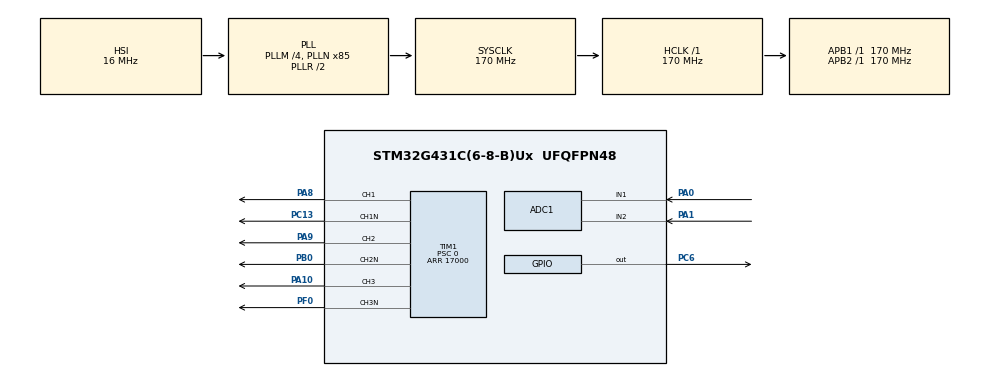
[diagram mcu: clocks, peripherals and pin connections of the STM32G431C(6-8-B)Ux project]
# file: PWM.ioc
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ADC1.Channel-1\#ChannelRegularConversion=ADC_CHANNEL_1
ADC1.ContinuousConvMode=ENABLE
ADC1.DMAContinuousRequests=ENABLE
ADC1.ExternalTrigConv=ADC_EXTERNALTRIG_T1_TRGO
ADC1.ExternalTrigConvEdge=ADC_EXTERNALTRIGCONVEDGE_RISING
ADC1.NbrOfConversion=1
ADC1.NbrOfConversionFlag=1
ADC1.OffsetNumber-1\#ChannelRegularConversion=ADC_OFFSET_NONE
ADC1.Rank-1\#ChannelRegularConversion=1
ADC1.SamplingTime-1\#ChannelRegularConversion=ADC_SAMPLETIME_47CYCLES_5
ADC1.SingleDiff-1\#ChannelRegularConversion=ADC_DIFFERENTIAL_ENDED
ADC1.master=1
Dma.ADC1.0.Direction=DMA_PERIPH_TO_MEMORY
Dma.ADC1.0.EventEnable=DISABLE
Dma.ADC1.0.Instance=DMA1_Channel1
Dma.ADC1.0.MemDataAlignment=DMA_MDATAALIGN_HALFWORD
Dma.ADC1.0.MemInc=DMA_MINC_ENABLE
Dma.ADC1.0.Mode=DMA_NORMAL
Dma.ADC1.0.PeriphDataAlignment=DMA_PDATAALIGN_HALFWORD
Dma.ADC1.0.PeriphInc=DMA_PINC_DISABLE
Dma.ADC1.0.Polarity=HAL_DMAMUX_REQ_GEN_RISING
Dma.ADC1.0.Priority=DMA_PRIORITY_LOW
Dma.ADC1.0.RequestNumber=1
Dma.ADC1.0.SignalID=NONE
Dma.ADC1.0.SyncEnable=DISABLE
Dma.ADC1.0.SyncPolarity=HAL_DMAMUX_SYNC_NO_EVENT
Dma.ADC1.0.SyncRequestNumber=1
Dma.ADC1.0.SyncSignalID=NONE
Dma.Request0=ADC1
Mcu.Family=STM32G4
Mcu.Name=STM32G431C(6-8-B)Ux
Mcu.Package=UFQFPN48
NVIC.DMA1_Channel1_IRQn=true\:0\:0\:false\:false\:false\:true\:true\:true
NVIC.PriorityGroup=NVIC_PRIORITYGROUP_4
NVIC.TIM2_IRQn=true\:0\:0\:false\:false\:true\:true\:false\:true
NVIC.TIM6_DAC_IRQn=true\:0\:0\:false\:false\:false\:true\:true\:true
PA0.Mode=IN1-Differential
PA0.Signal=ADC1_IN1
PA1.Mode=IN1-Differential
PA1.Signal=ADC1_IN2
PA10.Signal=S_TIM1_CH3
PA13.Mode=Serial_Wire
PA13.Signal=SYS_JTMS-SWDIO
PA14.Mode=Serial_Wire
PA14.Signal=SYS_JTCK-SWCLK
PA8.Signal=S_TIM1_CH1
PA9.Signal=S_TIM1_CH2
PB0.Mode=PWM Generation2 CH2 CH2N
PB0.Signal=TIM1_CH2N
PC13.Mode=PWM Generation1 CH1 CH1N
PC13.Signal=TIM1_CH1N
PC6.Signal=GPIO_Output
PF0-OSC_IN.Mode=PWM Generation3 CH3 CH3N
PF0-OSC_IN.Signal=TIM1_CH3N
ProjectManager.HeapSize=0x200
ProjectManager.StackSize=0x400
ProjectManager.TargetToolchain=MDK-ARM V5.32
RCC.ADC12Freq_Value=170000000
RCC.AHBFreq_Value=170000000
RCC.APB1Freq_Value=170000000
RCC.APB1TimFreq_Value=170000000
RCC.APB2Freq_Value=170000000
RCC.APB2TimFreq_Value=170000000
RCC.CortexFreq_Value=170000000
RCC.EXTERNAL_CLOCK_VALUE=12288000
RCC.HCLKFreq_Value=170000000
RCC.HSE_VALUE=8000000
RCC.HSI48_VALUE=48000000
RCC.HSI_VALUE=16000000
RCC.LSE_VALUE=32768
RCC.PLLM=RCC_PLLM_DIV4
RCC.PLLN=85
RCC.SYSCLKFreq_VALUE=170000000
RCC.SYSCLKSource=RCC_SYSCLKSOURCE_PLLCLK
RCC.USBFreq_Value=170000000
RCC.VCOOutputFreq_Value=340000000
SH.S_TIM1_CH1.0=TIM1_CH1,PWM Generation1 CH1 CH1N
SH.S_TIM1_CH2.0=TIM1_CH2,PWM Generation2 CH2 CH2N
SH.S_TIM1_CH3.0=TIM1_CH3,PWM Generation3 CH3 CH3N
TIM1.AutoReloadPreload=TIM_AUTORELOAD_PRELOAD_ENABLE
TIM1.Channel-PWM\ Generation1\ CH1\ CH1N=TIM_CHANNEL_1
TIM1.Channel-PWM\ Generation2\ CH2\ CH2N=TIM_CHANNEL_2
TIM1.Channel-PWM\ Generation3\ CH3\ CH3N=TIM_CHANNEL_3
TIM1.DeadTime=170
TIM1.DeadTimePreload=ENABLE
TIM1.PeriodNoDither=17000
TIM1.Prescaler=0
TIM1.PulseNoDither_1=8500
TIM1.PulseNoDither_2=8500
TIM1.TIM_MasterOutputTrigger=TIM_TRGO_OC1REF
TIM1.TIM_MasterSlaveMode=TIM_MASTERSLAVEMODE_DISABLE
TIM2.AutoReloadPreload=TIM_AUTORELOAD_PRELOAD_ENABLE
TIM2.PeriodNoDither=40
TIM2.Prescaler=170
TIM6.PeriodNoDither=34000
VP_SYS_VS_DBSignals.Mode=DisableDeadBatterySignals
VP_TIM1_VS_ClockSourceINT.Mode=Internal
VP_TIM2_VS_ClockSourceINT.Mode=Internal
VP_TIM6_VS_ClockSourceINT.Mode=Enable_Timer
board=custom

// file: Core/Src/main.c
/* USER CODE BEGIN Header */
/**
  ******************************************************************************
  * @file           : main.c
  * @brief          : Main program body
  ******************************************************************************
  * @attention
  *
  * Copyright (c) 2026 STMicroelectronics.
  * All rights reserved.
  *
  * This software is licensed under terms that can be found in the LICENSE file
  * in the root directory of this software component.
  * If no LICENSE file comes with this software, it is provided AS-IS.
  *
  ******************************************************************************
  */
/* USER CODE END Header */
#include "main.h"
#include "adc.h"
#include "dma.h"
#include "tim.h"
#include "gpio.h"

/* USER CODE BEGIN Includes */
#include "math.h"
/* USER CODE END Includes */

/* USER CODE BEGIN PV */
uint16_t adc_results[200];
float adcVoltage[200];
/* USER CODE END PV */

void SystemClock_Config(void);
/* USER CODE BEGIN PFP */
extern uint16_t calcNumMeasure(void);
/* USER CODE END PFP */

/* USER CODE BEGIN 0 */

void TIM6_start(){

	TIM6->CR1 |= TIM_CR1_CEN;
	TIM6->DIER |= TIM_DIER_UIE;
}

void TIM2_config(){
	//TIM2->DIER |= TIM_DIER_CC1IE;
}

void TIM2_start(){
	TIM2->DIER |= TIM_DIER_UIE;
	TIM2->CR1 |= TIM_CR1_CEN;
}

void TIM1_config(){

	TIM1->BDTR |= TIM_BDTR_MOE;

	TIM1 -> CR1 &= ~TIM_CR1_CMS_0;
	TIM1 -> CR1 |= TIM_CR1_CMS_1; // режим где флаг прерывания устанавливается только на подьёме и OC1REF тоже только на подьёме - для триггера АЦП

	TIM1->CCER |= TIM_CCER_CC1E;
	TIM1->CCER |= TIM_CCER_CC1NE;

	TIM1->CCER |= TIM_CCER_CC2E;
	TIM1->CCER |= TIM_CCER_CC2NE;

	TIM1->CCER |= TIM_CCER_CC3E;
	TIM1->CCER |= TIM_CCER_CC3NE;

}

void TIM1_start(){
	TIM1 -> CR1 |= TIM_CR1_CEN;
}

void DMA_ADC_config(uint16_t *data, uint16_t size)
{

    DMA1_Channel1->CCR &= ~DMA_CCR_EN;
    while (DMA1_Channel1->CCR & DMA_CCR_EN) {}

		DMA1_Channel1 -> CCR |= DMA_CCR_TCIE; // включить прерывание по концу передачи
    DMA1_Channel1->CNDTR = size;
    DMA1_Channel1->CPAR  = (uint32_t)&ADC1->DR;
    DMA1_Channel1->CMAR  = (uint32_t)data;

    if (ADC1->CR & ADC_CR_ADEN)
    {
        ADC1->CR |= ADC_CR_ADDIS;
        while (ADC1->CR & ADC_CR_ADEN) {}
    }

    ADC1->CR |= ADC_CR_ADVREGEN; // отрегулировать ADC

    for (volatile uint32_t i = 0; i < 2000; i++) { __NOP(); }

    /* 7. Calibrate ADC in differential mode */
    ADC1->CR |= ADC_CR_ADCALDIF;
    ADC1->CR |= ADC_CR_ADCAL;
    while (ADC1->CR & ADC_CR_ADCAL) {}

    ADC1->CFGR |= ADC_CFGR_CONT; // continous режим

    ADC1->CFGR |= ADC_CFGR_DMAEN;
    ADC1->CFGR |= ADC_CFGR_DMACFG;   // circular DMA

    ADC1->CR |= ADC_CR_ADEN;
    while (!(ADC1->ISR & ADC_ISR_ADRDY)) {}

    DMA1_Channel1->CCR |= DMA_CCR_EN;

    ADC1->CR |= ADC_CR_ADSTART; // врубить ADC
}

void ADC_restart(uint16_t *data, uint16_t size)
{
    /* 1. Остановить regular conversions */
    if (ADC1->CR & ADC_CR_ADSTART)
    {
        ADC1->CR |= ADC_CR_ADSTP;
        while (ADC1->CR & ADC_CR_ADSTP) {}
    }

    /* 2. Выключить DMA channel */
    DMA1_Channel1->CCR &= ~DMA_CCR_EN;
    while (DMA1_Channel1->CCR & DMA_CCR_EN) {}

    /* 3. Очистить DMA flags */
    DMA1->IFCR = DMA_IFCR_CGIF1 |
                 DMA_IFCR_CTCIF1 |
                 DMA_IFCR_CHTIF1 |
                 DMA_IFCR_CTEIF1;

    /* 4. Очистить флаги ADC */
    ADC1->ISR = ADC_ISR_EOC |
                ADC_ISR_EOS |
                ADC_ISR_OVR;

    /* 5. Перезагрузить DMA */
    DMA1_Channel1->CNDTR = size;
    DMA1_Channel1->CPAR  = (uint32_t)&ADC1->DR;
    DMA1_Channel1->CMAR  = (uint32_t)data;

    /* 6. Снова включить DMA */
    DMA1_Channel1->CCR |= DMA_CCR_EN;

    /* 7. Снова взвести ADC. */
    ADC1->CR |= ADC_CR_ADSTART;
}

/* USER CODE END 0 */

int main(void)
{

  /* MCU Configuration--------------------------------------------------------*/

  /* Reset of all peripherals, Initializes the Flash interface and the Systick. */
  HAL_Init();

  /* Configure the system clock */
  SystemClock_Config();

  /* Initialize all configured peripherals */
  MX_GPIO_Init();
  MX_DMA_Init();
  MX_TIM1_Init();
  MX_TIM6_Init();
  MX_ADC1_Init();
  MX_TIM2_Init();
  /* USER CODE BEGIN 2 */

	//HAL_TIM_PWM_Start(&htim8, TIM_CHANNEL_1);
	//HAL_TIMEx_PWMN_Start(&htim8, TIM_CHANNEL_1);

	//HAL_ADC_Start_DMA(&hadc1, (uint32_t*)adc_results, 20);

	DMA_ADC_config(adc_results, calcNumMeasure());

	TIM2_config();
	TIM1_config();
	TIM1_start();

	TIM6_start();

  /* USER CODE END 2 */

  /* Infinite loop */
  while (1)
  {

  }
}

void SystemClock_Config(void)
{
  RCC_OscInitTypeDef RCC_OscInitStruct = {0};
  RCC_ClkInitTypeDef RCC_ClkInitStruct = {0};

  /** Configure the main internal regulator output voltage
  */
  HAL_PWREx_ControlVoltageScaling(PWR_REGULATOR_VOLTAGE_SCALE1_BOOST);

  /** Initializes the RCC Oscillators according to the specified parameters
  * in the RCC_OscInitTypeDef structure.
  */
  RCC_OscInitStruct.OscillatorType = RCC_OSCILLATORTYPE_HSI;
  RCC_OscInitStruct.HSIState = RCC_HSI_ON;
  RCC_OscInitStruct.HSICalibrationValue = RCC_HSICALIBRATION_DEFAULT;
  RCC_OscInitStruct.PLL.PLLState = RCC_PLL_ON;
  RCC_OscInitStruct.PLL.PLLSource = RCC_PLLSOURCE_HSI;
  RCC_OscInitStruct.PLL.PLLM = RCC_PLLM_DIV4;
  RCC_OscInitStruct.PLL.PLLN = 85;
  RCC_OscInitStruct.PLL.PLLP = RCC_PLLP_DIV2;
  RCC_OscInitStruct.PLL.PLLQ = RCC_PLLQ_DIV2;
  RCC_OscInitStruct.PLL.PLLR = RCC_PLLR_DIV2;
  if (HAL_RCC_OscConfig(&RCC_OscInitStruct) != HAL_OK)
  {
    Error_Handler();
  }

  /** Initializes the CPU, AHB and APB buses clocks
  */
  RCC_ClkInitStruct.ClockType = RCC_CLOCKTYPE_HCLK|RCC_CLOCKTYPE_SYSCLK
                              |RCC_CLOCKTYPE_PCLK1|RCC_CLOCKTYPE_PCLK2;
  RCC_ClkInitStruct.SYSCLKSource = RCC_SYSCLKSOURCE_PLLCLK;
  RCC_ClkInitStruct.AHBCLKDivider = RCC_SYSCLK_DIV1;
  RCC_ClkInitStruct.APB1CLKDivider = RCC_HCLK_DIV1;
  RCC_ClkInitStruct.APB2CLKDivider = RCC_HCLK_DIV1;

  if (HAL_RCC_ClockConfig(&RCC_ClkInitStruct, FLASH_LATENCY_4) != HAL_OK)
  {
    Error_Handler();
  }
}

void Error_Handler(void)
{
  __disable_irq();
  while (1)
  {
  }
}
